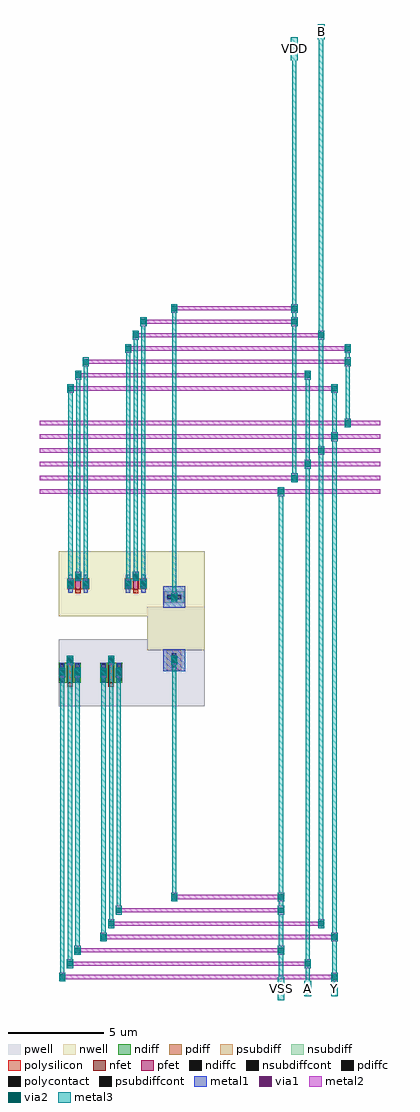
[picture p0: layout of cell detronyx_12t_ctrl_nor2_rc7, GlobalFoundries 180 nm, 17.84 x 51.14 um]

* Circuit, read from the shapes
.subckt detronyx_12t_ctrl_nor2_rc7 VDD VSS A B Y
XM1 VSS A Y VSS nfet_03v3 w=1.055u l=0.28u
XM2 VSS B Y VSS nfet_03v3 w=1.055u l=0.28u
XM3 n1 A Y VDD pfet_03v3 w=0.56u l=0.28u
XM4 VDD B n1 VDD pfet_03v3 w=0.56u l=0.28u
.ends

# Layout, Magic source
magic
tech gf180mcuD
magscale 1 10
<< nwell >>
rect 1528 3703 2128 4743
rect 600 4059 1608 4743
rect 600 4259 1004 4543
rect 1204 4259 1608 4543
<< pwell >>
rect 600 3120 1608 3819
rect 1528 3120 2128 4160
<< nfet >>
rect 688 3364 744 3575
rect 1120 3364 1176 3575
<< pfet >>
rect 774 4345 830 4457
rect 1378 4345 1434 4457
<< ndiff >>
rect 600 3364 688 3377
rect 744 3364 832 3377
rect 1032 3364 1120 3377
rect 1176 3364 1264 3377
rect 600 3377 613 3562
rect 659 3377 688 3562
rect 744 3377 773 3562
rect 819 3377 832 3562
rect 1032 3377 1045 3562
rect 1091 3377 1120 3562
rect 1176 3377 1205 3562
rect 1251 3377 1264 3562
rect 600 3562 688 3575
rect 744 3562 832 3575
rect 1032 3562 1120 3575
rect 1176 3562 1264 3575
<< pdiff >>
rect 686 4345 774 4358
rect 830 4345 918 4358
rect 1290 4345 1378 4358
rect 1434 4345 1522 4358
rect 686 4358 699 4444
rect 745 4358 774 4444
rect 830 4358 859 4444
rect 905 4358 918 4444
rect 1290 4358 1303 4444
rect 1349 4358 1378 4444
rect 1434 4358 1463 4444
rect 1509 4358 1522 4444
rect 686 4444 774 4457
rect 830 4444 918 4457
rect 1290 4444 1378 4457
rect 1434 4444 1522 4457
<< ndiffc >>
rect 613 3377 659 3562
rect 773 3377 819 3562
rect 1045 3377 1091 3562
rect 1205 3377 1251 3562
<< pdiffc >>
rect 699 4358 745 4444
rect 859 4358 905 4444
rect 1303 4358 1349 4444
rect 1463 4358 1509 4444
<< nsubdiff >>
rect 1703 4203 1913 4323
<< psubdiff >>
rect 1733 3495 1883 3705
<< nsubdiffcont >>
rect 1735 4240 1881 4286
<< psubdiffcont >>
rect 1785 3527 1831 3673
<< polysilicon >>
rect 688 3320 744 3364
rect 1120 3320 1176 3364
rect 688 3570 744 3630
rect 1120 3570 1176 3630
rect 688 3575 744 3619
rect 1120 3575 1176 3619
rect 774 4301 830 4345
rect 1378 4301 1434 4345
rect 774 4449 830 4509
rect 1378 4449 1434 4509
rect 774 4457 830 4501
rect 1378 4457 1434 4501
<< polycontact >>
rect 693 3577 739 3623
rect 1125 3577 1171 3623
rect 779 4456 825 4502
rect 1383 4456 1429 4502
<< metal1 >>
rect 613 3364 659 3377
rect 773 3364 819 3377
rect 1045 3364 1091 3377
rect 1205 3364 1251 3377
rect 613 3374 659 3564
rect 773 3374 819 3564
rect 1045 3374 1091 3564
rect 1205 3374 1251 3564
rect 604 3423 669 3515
rect 764 3423 829 3515
rect 1036 3423 1101 3515
rect 1196 3423 1261 3515
rect 1693 3485 1923 3715
rect 1785 3505 1831 3695
rect 684 3554 749 3646
rect 1116 3554 1181 3646
rect 1776 3554 1841 3646
rect 1776 3554 1841 3646
rect 613 3562 659 3575
rect 773 3562 819 3575
rect 1045 3562 1091 3575
rect 1205 3562 1251 3575
rect 684 3568 749 3633
rect 1116 3568 1181 3633
rect 1693 4148 1923 4378
rect 1785 4168 1831 4358
rect 1776 4217 1841 4309
rect 1776 4217 1841 4309
rect 699 4306 745 4496
rect 859 4306 905 4496
rect 1303 4306 1349 4496
rect 1463 4306 1509 4496
rect 699 4345 745 4358
rect 859 4345 905 4358
rect 1303 4345 1349 4358
rect 1463 4345 1509 4358
rect 690 4355 755 4447
rect 850 4355 915 4447
rect 1294 4355 1359 4447
rect 1454 4355 1519 4447
rect 770 4433 835 4525
rect 1374 4433 1439 4525
rect 699 4444 745 4457
rect 859 4444 905 4457
rect 1303 4444 1349 4457
rect 1463 4444 1509 4457
rect 770 4447 835 4512
rect 1374 4447 1439 4512
<< via1 >>
rect 610 3443 662 3495
rect 770 3443 822 3495
rect 1042 3443 1094 3495
rect 1202 3443 1254 3495
rect 690 3574 742 3626
rect 1122 3574 1174 3626
rect 1782 3574 1834 3626
rect 1782 3574 1834 3626
rect 1782 4237 1834 4289
rect 1782 4237 1834 4289
rect 696 4375 748 4427
rect 856 4375 908 4427
rect 1300 4375 1352 4427
rect 1460 4375 1512 4427
rect 776 4453 828 4505
rect 1380 4453 1432 4505
<< metal2 >>
rect 604 234 669 326
rect 3456 234 3521 326
rect 636 258 3488 302
rect 684 374 749 466
rect 3176 374 3241 466
rect 716 398 3208 442
rect 764 514 829 606
rect 2896 514 2961 606
rect 796 538 2928 582
rect 1036 654 1101 746
rect 3456 654 3521 746
rect 1068 678 3488 722
rect 1116 794 1181 886
rect 3316 794 3381 886
rect 1148 818 3348 862
rect 1196 934 1261 1026
rect 2896 934 2961 1026
rect 1228 958 2928 1002
rect 1776 1074 1841 1166
rect 2896 1074 2961 1166
rect 1808 1098 2928 1142
rect 604 3423 669 3515
rect 604 3423 669 3515
rect 764 3423 829 3515
rect 764 3423 829 3515
rect 1036 3423 1101 3515
rect 1036 3423 1101 3515
rect 1196 3423 1261 3515
rect 1196 3423 1261 3515
rect 684 3554 749 3646
rect 684 3554 749 3646
rect 1116 3554 1181 3646
rect 1116 3554 1181 3646
rect 1776 3554 1841 3646
rect 1776 3554 1841 3646
rect 1776 3554 1841 3646
rect 1776 4217 1841 4309
rect 1776 4217 1841 4309
rect 1776 4217 1841 4309
rect 690 4355 755 4447
rect 690 4355 755 4447
rect 850 4355 915 4447
rect 850 4355 915 4447
rect 1294 4355 1359 4447
rect 1294 4355 1359 4447
rect 1454 4355 1519 4447
rect 1454 4355 1519 4447
rect 770 4433 835 4525
rect 770 4433 835 4525
rect 1374 4433 1439 4525
rect 1374 4433 1439 4525
rect 2896 5321 2961 5413
rect 2896 5321 2961 5413
rect 2896 5321 2961 5413
rect 2896 5321 2961 5413
rect 400 5343 3968 5391
rect 3036 5465 3101 5557
rect 3036 5465 3101 5557
rect 3036 5465 3101 5557
rect 400 5487 3968 5535
rect 3176 5609 3241 5701
rect 3176 5609 3241 5701
rect 3176 5609 3241 5701
rect 400 5631 3968 5679
rect 3316 5753 3381 5845
rect 3316 5753 3381 5845
rect 3316 5753 3381 5845
rect 400 5775 3968 5823
rect 3456 5897 3521 5989
rect 3456 5897 3521 5989
rect 3456 5897 3521 5989
rect 3456 5897 3521 5989
rect 400 5919 3968 5967
rect 3596 6041 3661 6133
rect 3596 6041 3661 6133
rect 400 6063 3968 6111
rect 690 6401 755 6493
rect 3456 6401 3521 6493
rect 722 6425 3488 6469
rect 770 6541 835 6633
rect 3176 6541 3241 6633
rect 802 6565 3208 6609
rect 850 6681 915 6773
rect 3596 6681 3661 6773
rect 882 6705 3628 6749
rect 1294 6821 1359 6913
rect 3596 6821 3661 6913
rect 1326 6845 3628 6889
rect 1374 6961 1439 7053
rect 3316 6961 3381 7053
rect 1406 6985 3348 7029
rect 1454 7101 1519 7193
rect 3036 7101 3101 7193
rect 1486 7125 3068 7169
rect 1776 7241 1841 7333
rect 3036 7241 3101 7333
rect 1808 7265 3068 7309
<< via2 >>
rect 608 252 665 309
rect 3460 252 3517 309
rect 688 392 745 449
rect 3180 392 3237 449
rect 768 532 825 589
rect 2900 532 2957 589
rect 1040 672 1097 729
rect 3460 672 3517 729
rect 1120 812 1177 869
rect 3320 812 3377 869
rect 1200 952 1257 1009
rect 2900 952 2957 1009
rect 1780 1092 1837 1149
rect 2900 1092 2957 1149
rect 608 3441 665 3498
rect 768 3441 825 3498
rect 1040 3441 1097 3498
rect 1200 3441 1257 3498
rect 688 3572 745 3629
rect 1120 3572 1177 3629
rect 1780 3572 1837 3629
rect 1780 4235 1837 4292
rect 694 4373 751 4430
rect 854 4373 911 4430
rect 1298 4373 1355 4430
rect 1458 4373 1515 4430
rect 774 4451 831 4508
rect 1378 4451 1435 4508
rect 2900 5339 2957 5396
rect 2900 5339 2957 5396
rect 2900 5339 2957 5396
rect 2900 5339 2957 5396
rect 3040 5483 3097 5540
rect 3040 5483 3097 5540
rect 3040 5483 3097 5540
rect 3180 5627 3237 5684
rect 3180 5627 3237 5684
rect 3180 5627 3237 5684
rect 3320 5771 3377 5828
rect 3320 5771 3377 5828
rect 3320 5771 3377 5828
rect 3460 5915 3517 5972
rect 3460 5915 3517 5972
rect 3460 5915 3517 5972
rect 3460 5915 3517 5972
rect 3600 6059 3657 6116
rect 3600 6059 3657 6116
rect 694 6419 751 6476
rect 3460 6419 3517 6476
rect 774 6559 831 6616
rect 3180 6559 3237 6616
rect 854 6699 911 6756
rect 3600 6699 3657 6756
rect 1298 6839 1355 6896
rect 3600 6839 3657 6896
rect 1378 6979 1435 7036
rect 3320 6979 3377 7036
rect 1458 7119 1515 7176
rect 3040 7119 3097 7176
rect 1780 7259 1837 7316
rect 3040 7259 3097 7316
<< metal3 >>
rect 2892 40 2964 280
rect 3172 80 3244 240
rect 3452 80 3524 240
rect 2906 160 2950 5367
rect 3186 160 3230 5655
rect 3466 160 3510 5943
rect 604 234 669 326
rect 3456 234 3521 326
rect 614 280 658 3469
rect 3466 280 3510 5943
rect 684 374 749 466
rect 3176 374 3241 466
rect 694 420 738 3600
rect 3186 420 3230 5655
rect 764 514 829 606
rect 2896 514 2961 606
rect 774 560 818 3469
rect 2906 560 2950 5367
rect 1036 654 1101 746
rect 3456 654 3521 746
rect 1046 700 1090 3469
rect 3466 700 3510 5943
rect 1116 794 1181 886
rect 3316 794 3381 886
rect 1126 840 1170 3600
rect 3326 840 3370 5799
rect 1196 934 1261 1026
rect 2896 934 2961 1026
rect 1206 980 1250 3469
rect 2906 980 2950 5367
rect 1776 1074 1841 1166
rect 2896 1074 2961 1166
rect 1786 1120 1830 3600
rect 2906 1120 2950 5367
rect 604 3423 669 3515
rect 764 3423 829 3515
rect 1036 3423 1101 3515
rect 1196 3423 1261 3515
rect 684 3554 749 3646
rect 1116 3554 1181 3646
rect 1776 3554 1841 3646
rect 1776 4217 1841 4309
rect 1786 4263 1830 7287
rect 690 4355 755 4447
rect 850 4355 915 4447
rect 1294 4355 1359 4447
rect 1454 4355 1519 4447
rect 700 4401 744 6447
rect 860 4401 904 6727
rect 1304 4401 1348 6867
rect 1464 4401 1508 7147
rect 770 4433 835 4525
rect 1374 4433 1439 4525
rect 780 4479 824 6587
rect 1384 4479 1428 7007
rect 2896 5321 2961 5413
rect 2896 5321 2961 5413
rect 2896 5321 2961 5413
rect 2896 5321 2961 5413
rect 3036 5465 3101 5557
rect 3036 5465 3101 5557
rect 3036 5465 3101 5557
rect 3046 5511 3090 7147
rect 3046 5511 3090 7287
rect 3046 5511 3090 10007
rect 3176 5609 3241 5701
rect 3176 5609 3241 5701
rect 3176 5609 3241 5701
rect 3186 5655 3230 6587
rect 3316 5753 3381 5845
rect 3316 5753 3381 5845
rect 3316 5753 3381 5845
rect 3326 5799 3370 7007
rect 3326 5799 3370 10187
rect 3456 5897 3521 5989
rect 3456 5897 3521 5989
rect 3456 5897 3521 5989
rect 3456 5897 3521 5989
rect 3466 5943 3510 6447
rect 3596 6041 3661 6133
rect 3596 6041 3661 6133
rect 3606 6087 3650 6727
rect 3606 6087 3650 6867
rect 690 6401 755 6493
rect 3456 6401 3521 6493
rect 770 6541 835 6633
rect 3176 6541 3241 6633
rect 850 6681 915 6773
rect 3596 6681 3661 6773
rect 1294 6821 1359 6913
rect 3596 6821 3661 6913
rect 1374 6961 1439 7053
rect 3316 6961 3381 7053
rect 1454 7101 1519 7193
rect 3036 7101 3101 7193
rect 1776 7241 1841 7333
rect 3036 7241 3101 7333
rect 3032 9887 3104 10127
rect 3312 10107 3384 10267
<< labels >>
flabel metal3 3068 10007 3068 10007 0 FreeSans 93 0 0 0 VDD
port 1 nsew
flabel metal3 2928 160 2928 160 0 FreeSans 93 0 0 0 VSS
port 2 nsew
flabel metal3 3208 160 3208 160 0 FreeSans 93 0 0 0 A
port 3 nsew
flabel metal3 3348 10187 3348 10187 0 FreeSans 93 0 0 0 B
port 4 nsew
flabel metal3 3488 160 3488 160 0 FreeSans 93 0 0 0 Y
port 5 nsew
<< properties >>
string FIXED_BBOX 0 0 3968 10267
string DETRONYX_RC7_CONTROL_PRIMITIVE nor2
string DETRONYX_TRANSISTOR_RESIZE_ALLOWED false
<< end >>
